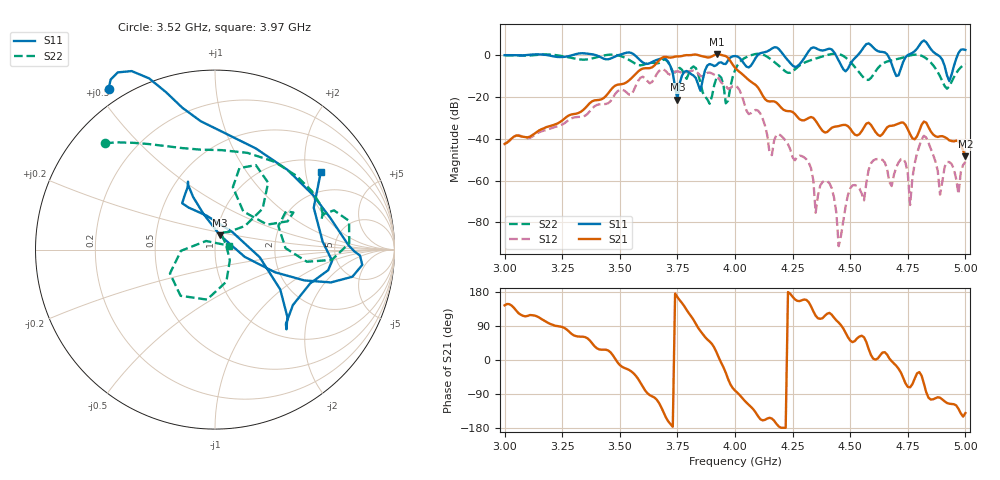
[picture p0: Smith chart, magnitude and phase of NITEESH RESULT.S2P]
!Agilent Technologies,E5071C,MY46520292,B.13.20
!Date: Sun Dec 10 02:50:43 2023
!Data & Calibration Information:
!Freq	S11:SOLT2(ON)	S21:SOLT2(ON)	S12:SOLT2(ON)	S22:SOLT2(ON)
!PortZ  Port1:50+j0  Port2:50+j0
!Above PortZ is port z conversion or system Z0 setting when saving the data.
!When reading, reference impedance value at option line is always used.
# Hz S dB R 50
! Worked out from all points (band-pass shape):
!   201 points, 3 GHz to 5 GHz, reference 50 ohm
!   highest |S21| = 0.20 dB at 3.92 GHz (marker M1); lowest = -48.4 dB at 5 GHz (marker M2)
!   |S21| within 3 dB of the highest: 3.67 GHz to 3.978 GHz (308.3 MHz wide, 8.06 % of centre)
!   lowest |S11| = -21.5 dB at 3.75 GHz (marker M3), VSWR 1.18, Z = 52.2 + j8.35 ohm
!   |S11| at or under -10 dB: 3.732 GHz to 3.77 GHz (38.25 MHz wide, 1.02 % of centre); 3.82 GHz to 3.864 GHz (44.27 MHz wide, 1.15 % of centre); 4.699188 GHz to 4.705917 GHz (6.729 MHz wide, 0.143 % of centre) (the widest 3 of 4)
!   |S22| runs from -23.4 to 0.4 dB; largest |S21 - S12| = 0.87
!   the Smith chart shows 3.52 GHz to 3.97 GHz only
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3e9  -0.26 -70.7  -42.59 144.2  -42.42 143.7  -0.30 -74.5
3.34e9  0.65 -148.3  -26.51 61.5  -29.53 45.1  -2.39 -151.0
3.54e9  1.03 118.7  -12.30 -26.2  -19.08 -56.4  -2.50 127.5
3.67e9  -2.20 -0.7  -2.79 -113.2  -7.82 -133.6  -4.01 18.1
3.75e9  -21.49 70.3  -0.85 166.0  -7.89 142.4  -6.94 28.3
3.83e9  -11.16 122.1  0.04 95.3  -8.01 64.9  -6.45 51.6
3.89e9  -4.49 -48.1  -1.32 48.8  -8.54 13.8  -23.43 21.3
3.92e9  -4.99 -19.5  0.20 20.0  -10.20 -27.7  -10.99 -99.1
3.96e9  -4.47 23.0  -0.71 -33.6  -14.96 -63.6  -23.21 136.0
4e9  -0.69 36.5  -6.25 -80.5  -14.84 -95.7  -7.42 -6.0
4.11e9  0.68 -72.3  -17.48 -156.2  -28.10 162.2  0.33 -21.2
4.18e9  3.46 -55.3  -22.87 -168.6  -38.25 -170.0  -4.35 -26.8
4.27e9  -5.61 -111.3  -29.59 156.1  -48.76 132.7  -6.10 -100.1
4.34e9  3.46 -127.4  -30.17 128.6  -59.95 13.0  -2.26 -108.8
4.46e9  -5.01 -97.2  -33.73 91.9  -86.33 -164.1  -0.08 -87.0
4.58e9  5.32 -163.1  -32.45 29.2  -54.90 -118.0  -12.05 -130.2
4.67e9  -1.70 -130.8  -34.01 4.1  -60.74 58.0  -3.00 -178.1
4.73e9  -3.45 142.1  -32.36 -46.9  -49.56 64.6  -1.38 -152.2
4.76e9  0.32 136.7  -37.94 -72.0  -71.67 -48.8  -0.40 -142.8
4.82e9  6.74 170.9  -31.90 -62.3  -38.69 54.8  -1.10 -137.6
4.89e9  -0.98 -149.4  -38.92 -99.6  -66.75 -70.1  -10.35 -134.0
5e9  2.23 100.8  -48.44 -140.1  -51.12 32.5  -4.38 123.9
